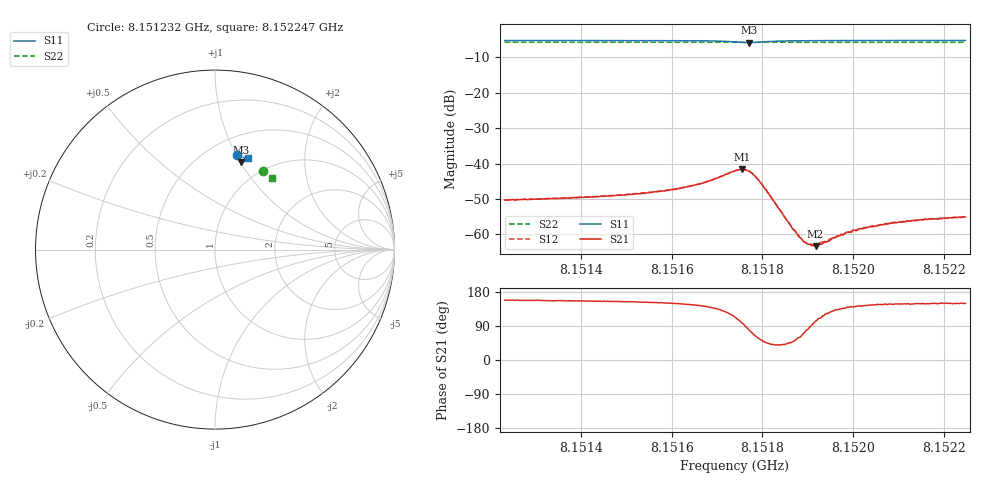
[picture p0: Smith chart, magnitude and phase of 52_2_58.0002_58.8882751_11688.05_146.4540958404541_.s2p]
#  HZ  S  RI  R  50.00
! Rohde & Schwarz Vector Network Analyzer
! Rohde-Schwarz,ZNB20-2Port,1311601062101988,3.16
! Created: UTC 3/21/2024, 12:52:38 AM
! freq[Hz]  re:S11  im:S11  re:S21  im:S21  re:S12  im:S12  re:S22  im:S22
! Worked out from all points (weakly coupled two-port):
!   401 points, 8.151232 GHz to 8.152247 GHz, reference 50 ohm
!   highest |S21| = -41.67 dB at 8.151755 GHz (marker M1); lowest = -63.3 dB at 8.151917 GHz (marker M2)
!   lowest |S11| = -5.9 dB at 8.15177 GHz (marker M3), VSWR 3.06, Z = 38.4 + j50.2 ohm
!   |S11| at or under -10 dB: nowhere
!   |S22| runs from -5.8 to -5.8 dB; largest |S21 - S12| = 0.00021
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8.1512322e9  0.1216 0.5297  -0.00283 0.00115  -0.00281 0.00119  0.2663 0.4398
8.1514022e9  0.1345 0.5266  -0.00303 0.00136  -0.00305 0.00142  0.2755 0.4339
8.1514935e9  0.142 0.5247  -0.00325 0.00157  -0.00323 0.00165  0.2803 0.4304
8.1515721e9  0.1493 0.5219  -0.00355 0.00198  -0.00354 0.00203  0.2846 0.4273
8.1516178e9  0.154 0.5197  -0.00379 0.00233  -0.00379 0.00241  0.2872 0.4257
8.151666e9  0.1601 0.5151  -0.00419 0.00315  -0.0042 0.00325  0.2895 0.4238
8.1517396e9  0.1639 0.4933  -0.00309 0.00724  -0.00303 0.00732  0.2931 0.4203
8.1517548e9  0.1563 0.4865  -0.00118 0.00817  -0.00107 0.00823  0.2934 0.4197
8.15177e9  0.1448 0.486  0.00138 0.00766  0.00149 0.00773  0.2938 0.4194
8.1517827e9  0.137 0.492  0.00282 0.00611  0.00292 0.00613  0.2945 0.4192
8.1517954e9  0.1342 0.4998  0.00318 0.00437  0.00328 0.00438  0.2949 0.419
8.1518639e9  0.1467 0.5176  0.000877 0.000936  0.000911 0.000943  0.2991 0.4169
8.1518841e9  0.1501 0.5184  0.000422 0.000776  0.000403 0.000785  0.3002 0.416
8.1518943e9  0.1517 0.5184  0.000211 0.000752  0.000205 0.000733  0.3008 0.4157
8.1519095e9  0.1538 0.5187  -3.35e-05 0.000689  -4.77e-05 0.000716  0.3016 0.4151
8.1519171e9  0.1548 0.5188  -0.000152 0.000666  -0.000106 0.000705  0.302 0.4149
8.1519349e9  0.1571 0.5186  -0.000345 0.000681  -0.000338 0.000708  0.3031 0.4142
8.1519881e9  0.1627 0.5182  -0.000813 0.000692  -0.000777 0.000719  0.3058 0.4121
8.1520186e9  0.1656 0.5177  -0.000956 0.000729  -0.000992 0.000732  0.3073 0.4107
8.1520795e9  0.1709 0.5164  -0.0012 0.000749  -0.00121 0.000787  0.3104 0.4084
8.1521556e9  0.1768 0.5147  -0.00139 0.000846  -0.00137 0.000841  0.3143 0.4053
8.1522469e9  0.1836 0.5129  -0.00152 0.0009  -0.00152 0.000934  0.3189 0.4015
